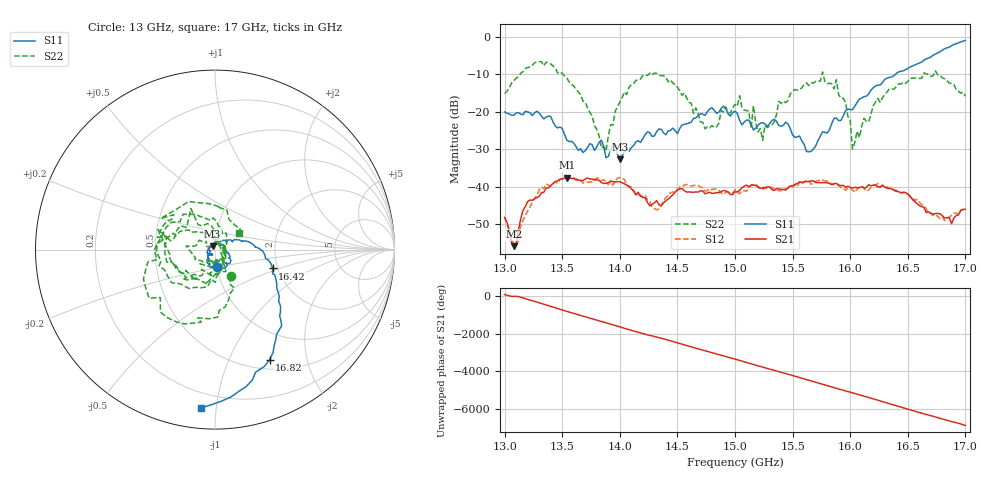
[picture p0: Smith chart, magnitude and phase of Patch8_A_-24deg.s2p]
!Keysight Technologies,P9374A,MY57211810,A.19.30.04
!Date: Friday, May 09, 2025 09:14:41
!Correction: S11(Cdelta 2-Port  )
!S21(Cdelta 2-Port  )
!S12(Cdelta 2-Port  )
!S22(Cdelta 2-Port  )
!S2P File: Measurements: S11, S21, S12, S22:
# Hz S  dB  R 50
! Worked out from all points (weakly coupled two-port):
!   201 points, 13 GHz to 17 GHz, reference 50 ohm
!   highest |S21| = -37.61 dB at 13.54 GHz (marker M1); lowest = -55.8 dB at 13.08 GHz (marker M2)
!   lowest |S11| = -32.7 dB at 14 GHz (marker M3), VSWR 1.05, Z = 48.6 + j1.83 ohm
!   |S11| at or under -10 dB: start of sweep to 16.4 GHz
!   |S22| runs from -30.5 to -6.7 dB; largest |S21 - S12| = 0.0028
!   S11 on the Smith chart (normalised r, x): 13 GHz: 1.00, -0.20; 16.42 GHz: 1.88, -0.45; 16.82 GHz: 0.61, -1.42; 17 GHz: 0.11, -0.91
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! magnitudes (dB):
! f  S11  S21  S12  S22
! 13 GHz  -20.1  -48.2  -48.1  -15.2
! 13.08 GHz  -21.0  -55.8  -55.5  -11.8
! 13.2 GHz  -20.1  -44.0  -46.4  -8.3
! 13.54 GHz  -27.6  -37.6  -38.0  -11.1
! 13.68 GHz  -30.9  -38.4  -39.0  -17.2
! 13.88 GHz  -32.3  -39.1  -38.6  -30.5
! 14 GHz  -32.7  -38.7  -37.5  -17.5
! 14.34 GHz  -24.6  -44.8  -45.9  -10.3
! 14.74 GHz  -21.0  -41.9  -41.2  -24.6
! 15 GHz  -19.9  -41.4  -40.8  -18.1
! 15.14 GHz  -23.4  -39.6  -39.6  -24.5
! 15.16 GHz  -24.9  -39.5  -39.5  -18.4
! 15.24 GHz  -23.0  -40.3  -40.7  -27.7
! 15.38 GHz  -23.7  -40.6  -41.1  -17.3
! 15.68 GHz  -30.0  -38.4  -39.0  -12.4
! 15.88 GHz  -21.7  -39.1  -39.6  -11.5
! 16 GHz  -19.4  -40.2  -40.5  -22.3
! 16.02 GHz  -19.5  -40.3  -40.8  -30.0
! 16.34 GHz  -10.9  -40.5  -40.2  -13.9
! 16.42 GHz  -9.4  -41.3  -41.2  -12.6
! 16.82 GHz  -3.3  -48.4  -49.1  -11.3
! 17 GHz  -1.0  -46.0  -46.3  -15.9
